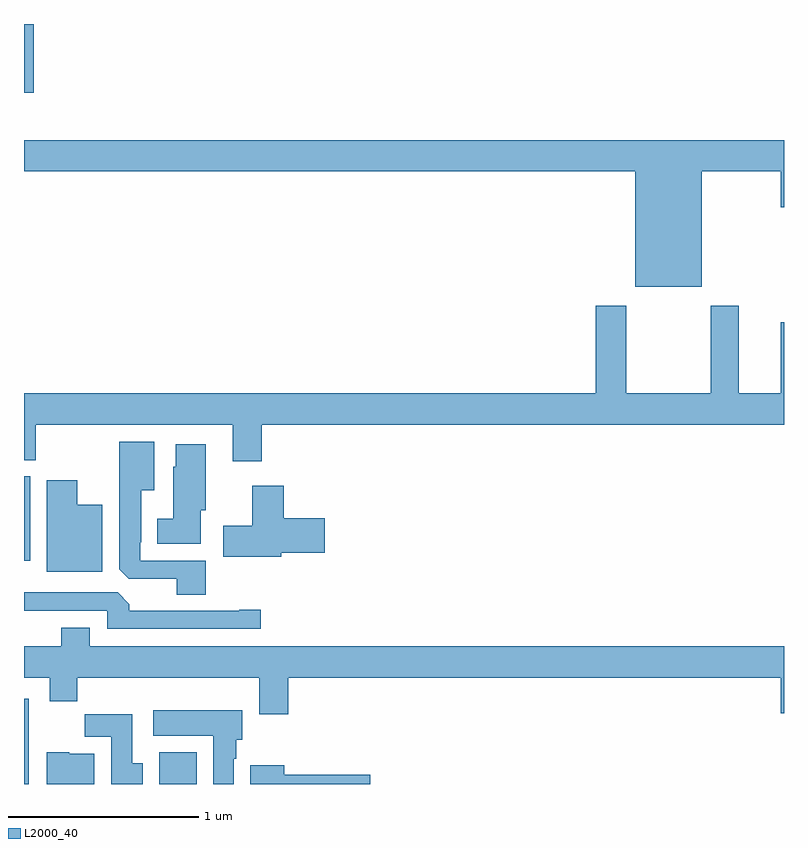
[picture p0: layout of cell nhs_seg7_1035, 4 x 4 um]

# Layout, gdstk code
import gdstk
lib = gdstk.Library(unit=1e-6, precision=1e-09)
def R(c, l, rs):  # rectangles x0, y0, x1, y1
    for r in rs: c.add(gdstk.rectangle(r[:2], r[2:], *l))
def P(c, l, *ps):  # polygons
    for p in ps: c.add(gdstk.Polygon(p, *l))
L2000_40 = (2000, 40)

nhs_seg7_1035 = lib.new_cell('nhs_seg7_1035')
R(nhs_seg7_1035, L2000_40, [(185,1056,185.025,1056.45), (185.711,1056,185.908,1056.166), (185,1057.176,185.032,1057.62), (185,1059.639,185.051,1060)])
P(nhs_seg7_1035, L2000_40, [(188.566,1059.224),(188.984,1059.224),(188.984,1059.036),(189,1059.036),(189,1059.388),(185,1059.388),(185,1059.224),(188.216,1059.224),(188.216,1058.618),(188.566,1058.618)],
  [(186.251,1057.892),(189,1057.892),(189,1058.431),(188.984,1058.431),(188.984,1058.056),(188.761,1058.056),(188.761,1058.518),(188.614,1058.518),(188.614,1058.056),(188.169,1058.056),(188.169,1058.518),(188.009,1058.518),(188.009,1058.056),(185,1058.056),(185,1057.705),(185.061,1057.705),(185.061,1057.892),(186.098,1057.892),(186.098,1057.698),(186.251,1057.698)],
  [(185.957,1057.176),(185.613,1057.176),(185.613,1057.273),(185.617,1057.273),(185.617,1057.547),(185.686,1057.547),(185.686,1057.801),(185.501,1057.801),(185.501,1057.129),(185.55,1057.08),(185.804,1057.08),(185.804,1056.997),(185.957,1056.997)],
  [(185.929,1057.44),(185.956,1057.44),(185.956,1057.789),(185.798,1057.789),(185.798,1057.671),(185.786,1057.671),(185.786,1057.396),(185.702,1057.396),(185.702,1057.265),(185.929,1057.265)],
  [(185.413,1057.471),(185.281,1057.471),(185.281,1057.6),(185.12,1057.6),(185.12,1057.118),(185.413,1057.118)],
  [(186.355,1057.217),(186.583,1057.217),(186.583,1057.4),(186.368,1057.4),(186.368,1057.57),(186.2,1057.57),(186.2,1057.359),(186.048,1057.359),(186.048,1057.196),(186.355,1057.196)],
  [(186.247,1056.917),(186.134,1056.917),(186.134,1056.912),(185.555,1056.912),(185.555,1056.946),(185.493,1057.008),(185,1057.008),(185,1056.912),(185.439,1056.912),(185.439,1056.816),(186.247,1056.816)],
  [(185.347,1056.823),(185.195,1056.823),(185.195,1056.724),(185,1056.724),(185,1056.56),(185.135,1056.56),(185.135,1056.436),(185.279,1056.436),(185.279,1056.56),(186.239,1056.56),(186.239,1056.366),(186.392,1056.366),(186.392,1056.56),(188.984,1056.56),(188.984,1056.372),(189,1056.372),(189,1056.724),(185.347,1056.724)],
  [(186.103,1056.134),(186.118,1056.134),(186.118,1056.234),(186.148,1056.234),(186.148,1056.388),(185.679,1056.388),(185.679,1056.254),(185.996,1056.254),(185.996,1056),(186.103,1056)],
  [(185.626,1056.108),(185.569,1056.108),(185.569,1056.367),(185.32,1056.367),(185.32,1056.248),(185.459,1056.248),(185.459,1056),(185.626,1056)],
  [(185.371,1056.16),(185.238,1056.16),(185.238,1056.166),(185.12,1056.166),(185.12,1056),(185.371,1056)],
  [(186.823,1056.05),(186.37,1056.05),(186.37,1056.1),(186.191,1056.1),(186.191,1056),(186.823,1056)])

lib.write_gds('nhs_seg7_1035.gds')
